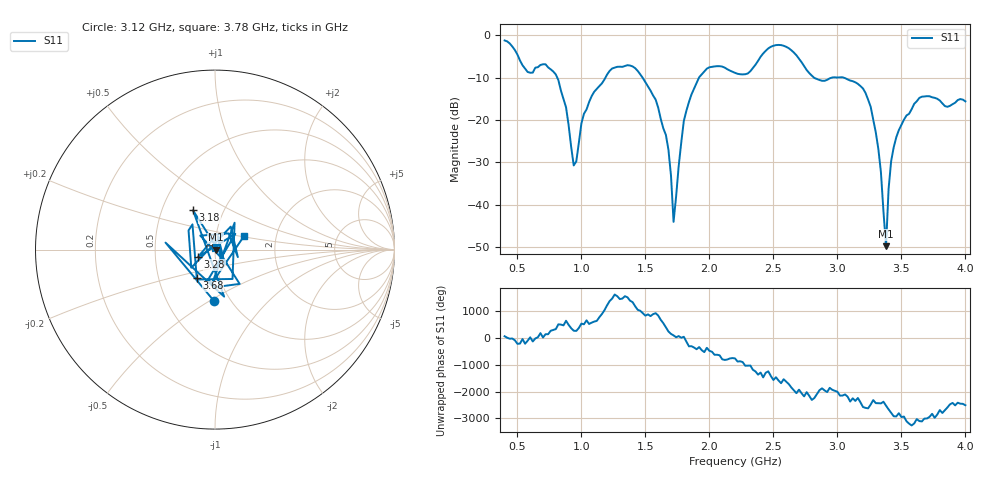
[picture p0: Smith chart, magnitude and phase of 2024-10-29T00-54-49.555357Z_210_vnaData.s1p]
!Created with skrf (http://scikit-rf.org).
# Hz S RI R 50.0
!freq ReS11 ImS11
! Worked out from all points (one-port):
!   181 points, 400 MHz to 4 GHz, reference 50 ohm
!   lowest |S11| = -49.8 dB at 3.38 GHz (marker M1), VSWR 1.01, Z = 50.3 - j0.0277 ohm
!   |S11| at or under -10 dB: 811.3 MHz to 1.188 GHz (376.4 MHz wide, 37.7 % of centre); 1.478 GHz to 1.919 GHz (440.6 MHz wide, 25.9 % of centre); 3.048 GHz to end of sweep (the widest 3 of 4)
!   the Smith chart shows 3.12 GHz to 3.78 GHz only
!   S11 on the Smith chart (normalised r, x): 3.12 GHz: 0.84, -0.53; 3.18 GHz: 0.72, +0.34; 3.28 GHz: 0.83, -0.07; 3.68 GHz: 0.78, -0.26; 3.78 GHz: 1.37, +0.21
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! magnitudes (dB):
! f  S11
! 400 MHz  -1.2
! 580 MHz  -8.7
! 780 MHz  -8.5
! 860 MHz  -15.1
! 940 MHz  -30.7
! 1.08 GHz  -14.4
! 1.3 GHz  -7.4
! 1.58 GHz  -15.2
! 1.68 GHz  -27.0
! 1.72 GHz  -44.1
! 1.76 GHz  -30.9
! 1.8 GHz  -20.2
! 1.92 GHz  -9.9
! 2.2 GHz  -8.9
! 2.66 GHz  -4.1
! 2.82 GHz  -10.1
! 3.1 GHz  -10.7
! 3.12 GHz  -10.8
! 3.18 GHz  -12.0
! 3.28 GHz  -19.9
! 3.34 GHz  -32.3
! 3.38 GHz  -49.8
! 3.4 GHz  -36.3
! 3.42 GHz  -29.7
! 3.56 GHz  -18.5
! 3.68 GHz  -14.4
! 3.78 GHz  -15.0
! 4 GHz  -15.6
